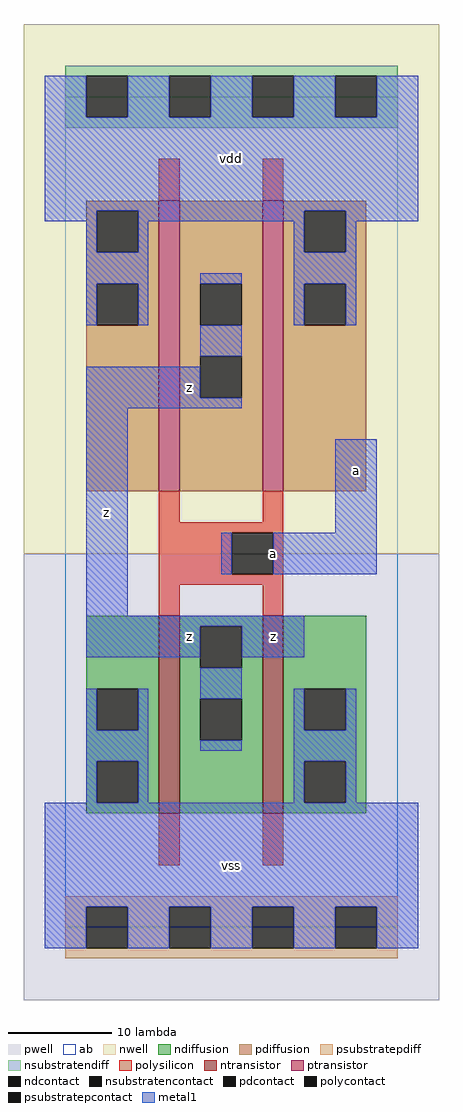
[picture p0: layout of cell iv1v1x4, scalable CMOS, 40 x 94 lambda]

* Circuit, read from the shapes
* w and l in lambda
.subckt iv1v1x4 a vdd vss z
M1 z a vss vss nfet w=19 l=2 m=2
M2 z a vdd vdd pfet w=28 l=2 m=2
.ends

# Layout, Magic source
magic
tech scmos
<< ab >>
rect 0 0 32 80
<< pwell >>
rect -4 -7 36 36
<< nwell >>
rect -4 36 36 87
<< polysilicon >>
rect 9 70 11 74
rect 19 70 21 74
rect 9 39 11 42
rect 19 39 21 42
rect 9 38 21 39
rect 9 34 16 38
rect 20 34 21 38
rect 9 33 21 34
rect 9 30 11 33
rect 19 30 21 33
rect 9 6 11 11
rect 19 6 21 11
<< ndiffusion >>
rect 2 23 9 30
rect 2 19 3 23
rect 7 19 9 23
rect 2 16 9 19
rect 2 12 3 16
rect 7 12 9 16
rect 2 11 9 12
rect 11 29 19 30
rect 11 25 13 29
rect 17 25 19 29
rect 11 22 19 25
rect 11 18 13 22
rect 17 18 19 22
rect 11 11 19 18
rect 21 23 29 30
rect 21 19 23 23
rect 27 19 29 23
rect 21 16 29 19
rect 21 12 23 16
rect 27 12 29 16
rect 21 11 29 12
<< pdiffusion >>
rect 2 69 9 70
rect 2 65 3 69
rect 7 65 9 69
rect 2 62 9 65
rect 2 58 3 62
rect 7 58 9 62
rect 2 42 9 58
rect 11 62 19 70
rect 11 58 13 62
rect 17 58 19 62
rect 11 55 19 58
rect 11 51 13 55
rect 17 51 19 55
rect 11 42 19 51
rect 21 69 29 70
rect 21 65 23 69
rect 27 65 29 69
rect 21 62 29 65
rect 21 58 23 62
rect 27 58 29 62
rect 21 42 29 58
<< metal1 >>
rect -2 78 2 82
rect 6 78 10 82
rect 14 78 18 82
rect 22 78 26 82
rect 30 78 34 82
rect -2 69 34 78
rect -2 68 3 69
rect 2 65 3 68
rect 7 68 23 69
rect 7 65 8 68
rect 2 62 8 65
rect 22 65 23 68
rect 27 68 34 69
rect 27 65 28 68
rect 2 58 3 62
rect 7 58 8 62
rect 13 62 17 63
rect 22 62 28 65
rect 22 58 23 62
rect 27 58 28 62
rect 13 55 17 58
rect 2 51 13 54
rect 2 50 17 51
rect 2 30 6 50
rect 26 38 30 47
rect 15 34 16 38
rect 20 34 30 38
rect 2 29 23 30
rect 2 26 13 29
rect 17 26 23 29
rect 2 19 3 23
rect 7 19 8 23
rect 2 16 8 19
rect 13 22 17 25
rect 13 17 17 18
rect 22 19 23 23
rect 27 19 28 23
rect 2 12 3 16
rect 7 12 8 16
rect 22 16 28 19
rect 22 12 23 16
rect 27 12 28 16
rect -2 2 34 12
rect -2 -2 2 2
rect 6 -2 10 2
rect 14 -2 18 2
rect 22 -2 26 2
rect 30 -2 34 2
<< ntransistor >>
rect 9 11 11 30
rect 19 11 21 30
<< ptransistor >>
rect 9 42 11 70
rect 19 42 21 70
<< polycontact >>
rect 16 34 20 38
<< ndcontact >>
rect 3 19 7 23
rect 3 12 7 16
rect 13 25 17 29
rect 13 18 17 22
rect 23 19 27 23
rect 23 12 27 16
<< pdcontact >>
rect 3 65 7 69
rect 3 58 7 62
rect 13 58 17 62
rect 13 51 17 55
rect 23 65 27 69
rect 23 58 27 62
<< psubstratepcontact >>
rect 2 -2 6 2
rect 10 -2 14 2
rect 18 -2 22 2
rect 26 -2 30 2
<< nsubstratencontact >>
rect 2 78 6 82
rect 10 78 14 82
rect 18 78 22 82
rect 26 78 30 82
<< psubstratepdiff >>
rect 0 2 32 3
rect 0 -2 2 2
rect 6 -2 10 2
rect 14 -2 18 2
rect 22 -2 26 2
rect 30 -2 32 2
rect 0 -3 32 -2
<< nsubstratendiff >>
rect 0 82 32 83
rect 0 78 2 82
rect 6 78 10 82
rect 14 78 18 82
rect 22 78 26 82
rect 30 78 32 82
rect 0 77 32 78
<< labels >>
rlabel metal1 4 40 4 40 6 z
rlabel metal1 12 28 12 28 6 z
rlabel metal1 12 52 12 52 6 z
rlabel metal1 16 6 16 6 6 vss
rlabel metal1 20 36 20 36 6 a
rlabel metal1 20 28 20 28 6 z
rlabel metal1 16 74 16 74 6 vdd
rlabel metal1 28 44 28 44 6 a
<< end >>
